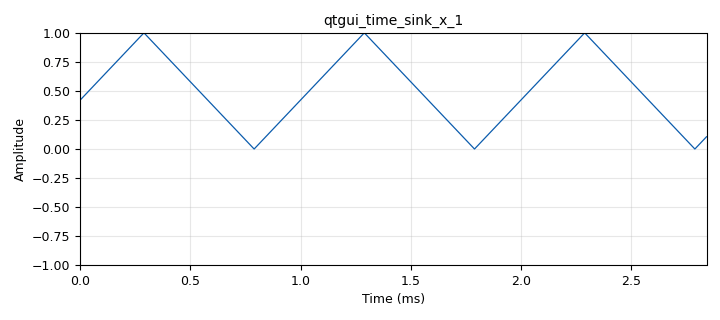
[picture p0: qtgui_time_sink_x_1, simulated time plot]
<?xml version='1.0' encoding='utf-8'?>
<?grc format='1' created='3.7.7'?>
<flow_graph>
<block>
<key>options</key>
<param><key>id</key><value>top_block</value></param>
<param><key>generate_options</key><value>qt_gui</value></param>
<param><key>category</key><value>Custom</value></param>
</block>
<block>
<key>variable</key>
<param><key>id</key><value>samp_rate</value></param>
<param><key>value</key><value>360e3</value></param>
</block>
<block>
<key>analog_sig_source_x</key>
<param><key>id</key><value>analog_sig_source_x_0</value></param>
<param><key>type</key><value>float</value></param>
<param><key>samp_rate</key><value>samp_rate</value></param>
<param><key>waveform</key><value>analog.GR_TRI_WAVE</value></param>
<param><key>freq</key><value>1000</value></param>
<param><key>amp</key><value>1</value></param>
<param><key>offset</key><value>0</value></param>
</block>
<block>
<key>qtgui_time_sink_x</key>
<param><key>id</key><value>qtgui_time_sink_x_1</value></param>
<param><key>type</key><value>float</value></param>
<param><key>size</key><value>1024</value></param>
<param><key>srate</key><value>samp_rate</value></param>
<param><key>label1</key><value></value></param>
<param><key>color1</key><value>"blue"</value></param>
</block>
<connection><source_block_id>analog_sig_source_x_0</source_block_id><sink_block_id>qtgui_time_sink_x_1</sink_block_id><source_key>0</source_key><sink_key>0</sink_key></connection>
</flow_graph>
